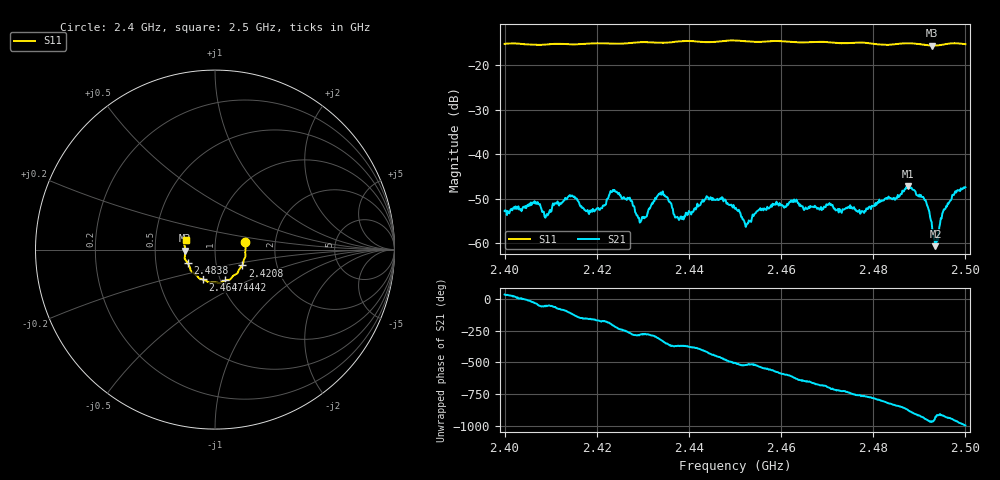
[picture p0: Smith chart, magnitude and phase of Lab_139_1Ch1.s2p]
# Hz S RI R 50
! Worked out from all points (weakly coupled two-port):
!   601 points, 2.4 GHz to 2.5 GHz, reference 50 ohm
!   highest |S21| = -47.26 dB at 2.4875 GHz (marker M1); lowest = -60.7 dB at 2.4935 GHz (marker M2)
!   lowest |S11| = -15.6 dB at 2.4928 GHz (marker M3), VSWR 1.40, Z = 35.8 - j0.417 ohm
!   |S11| at or under -10 dB: start of sweep to end of sweep
!   S12 and S22 are empty: the file has one direction only
!   S11 on the Smith chart (normalised r, x): 2.4 GHz: 1.40, +0.12; 2.4208 GHz: 1.33, -0.24; 2.4442 GHz: 1.05, -0.37; 2.4647 GHz: 0.83, -0.29; 2.4838 GHz: 0.73, -0.11; 2.5 GHz: 0.72, +0.08
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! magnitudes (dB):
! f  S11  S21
! 2.4 GHz  -15.2  -52.8
! 2.4143 GHz  -15.4  -49.5
! 2.4167 GHz  -15.3  -51.7
! 2.4208 GHz  -15.1  -52.1
! 2.424 GHz  -15.2  -48.4
! 2.4298 GHz  -14.9  -54.2
! 2.4333 GHz  -15.0  -49.1
! 2.4383 GHz  -14.6  -54.0
! 2.4442 GHz  -14.9  -49.8
! 2.45 GHz  -14.5  -52.3
! 2.4527 GHz  -14.7  -55.6
! 2.4587 GHz  -14.6  -51.3
! 2.4647 GHz  -14.9  -51.7
! 2.4667 GHz  -14.8  -51.8
! 2.4833 GHz  -15.4  -49.5
! 2.4838 GHz  -15.4  -49.9
! 2.4875 GHz  -15.1  -47.3
! 2.4912 GHz  -15.5  -50.4
! 2.4928 GHz  -15.6  -57.0
! 2.4935 GHz  -15.6  -60.7
! 2.4957 GHz  -15.3  -52.2
! 2.5 GHz  -15.3  -47.4
